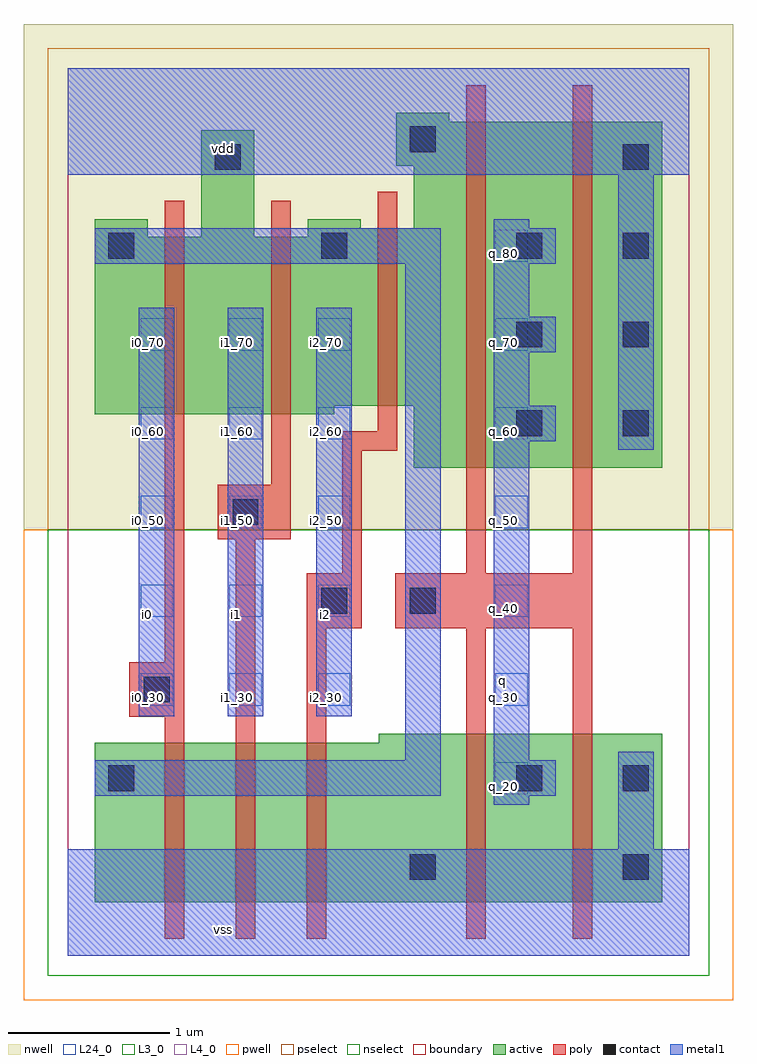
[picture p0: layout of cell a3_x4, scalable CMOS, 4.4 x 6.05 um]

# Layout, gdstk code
import gdstk
lib = gdstk.Library(unit=1e-6, precision=2.5e-09)
def R(c, l, rs):  # rectangles x0, y0, x1, y1
    for r in rs: c.add(gdstk.rectangle(r[:2], r[2:], *l))
def A(c, l, x, y, w, h, nx, ny, dx, dy):  # array of equal rectangles
    R(c, l, [(x+i*dx, y+j*dy, x+i*dx+w, y+j*dy+h) for i in range(nx) for j in range(ny)])
L3_0 = (3, 0)
L4_0 = (4, 0)
L24_0 = (24, 0)
contact = (25, 0)
pwell = (41, 0)
nwell = (42, 0)
active = (43, 0)
pselect = (44, 0)
nselect = (45, 0)
poly = (46, 0)
metal1 = (49, 0)
boundary = (63, 0)

a3_x4 = lib.new_cell('a3_x4')
R(a3_x4, L3_0, [(0.165,0.33,3.685,1.32), (1.925,1.32,3.685,1.375)])
R(a3_x4, L4_0, [(2.145,3.025,3.685,3.41), (0.165,3.355,1.65,3.41), (0.165,3.41,3.685,4.455), (0.165,4.455,0.495,4.565), (0.825,4.455,1.155,5.115), (1.485,4.455,3.685,4.51), (1.485,4.51,1.815,4.565), (2.145,4.51,3.685,4.895), (2.035,4.895,3.685,5.17), (2.035,5.17,2.365,5.225)])
A(a3_x4, L24_0, 2.65, 1, 0.2, 0.2, 1, 7, 0, 0.55)
A(a3_x4, L24_0, 0.45, 1.55, 0.2, 0.2, 3, 5, 0.55, 0.55)
A(a3_x4, contact, 2.78, 3.22, 0.16, 0.16, 1, 3, 0, 0.55)
A(a3_x4, contact, 3.44, 3.22, 0.16, 0.16, 1, 4, 0, 0.55)
R(a3_x4, contact, [(2.12,0.47,2.28,0.63), (3.44,0.47,3.6,0.63), (0.25,1.02,0.41,1.18), (2.78,1.02,2.94,1.18), (3.44,1.02,3.6,1.18), (0.47,1.57,0.63,1.73), (1.57,2.12,1.73,2.28), (2.12,2.12,2.28,2.28), (1.02,2.67,1.18,2.83), (0.25,4.32,0.41,4.48), (1.57,4.32,1.73,4.48), (0.91,4.87,1.07,5.03), (2.12,4.98,2.28,5.14)])
R(a3_x4, pwell, [(-0.275,-0.275,4.125,2.64)])
R(a3_x4, nwell, [(-0.275,2.64,4.125,5.775)])
R(a3_x4, active, [(0.165,0.33,3.685,1.32), (1.925,1.32,3.685,1.375), (2.145,3.025,3.685,3.41), (0.165,3.355,1.65,3.41), (0.165,3.41,3.685,4.455), (0.165,4.455,0.495,4.565), (0.825,4.455,1.155,5.115), (1.485,4.455,3.685,4.51), (1.485,4.51,1.815,4.565), (2.145,4.51,3.685,4.895), (2.035,4.895,3.685,5.17), (2.035,5.17,2.365,5.225)])
R(a3_x4, pselect, [(-0.125,2.64,3.975,5.625)])
R(a3_x4, nselect, [(-0.125,-0.125,3.975,2.64)])
R(a3_x4, poly, [(0.6,0.105,0.72,1.48), (1.04,0.105,1.16,2.58), (1.48,0.105,1.6,2.03), (2.47,0.105,2.59,2.03), (3.13,0.105,3.25,2.03), (0.38,1.48,0.72,1.82), (0.6,1.82,0.72,4.68), (1.48,2.03,1.82,2.37), (2.03,2.03,3.25,2.37), (1.7,2.37,1.82,3.13), (2.47,2.37,2.59,5.395), (3.13,2.37,3.25,5.395), (0.93,2.58,1.38,2.92), (1.26,2.92,1.38,4.68), (1.7,3.13,2.04,3.25), (1.92,3.25,2.04,4.735)])
A(a3_x4, metal1, 0.44, 1.485, 0.22, 2.53, 3, 1, 0.55, 0)
A(a3_x4, metal1, 2.64, 3.19, 0.385, 0.22, 1, 3, 0, 0.55)
R(a3_x4, metal1, [(0,0,3.85,0.66), (3.41,0.66,3.63,1.265), (2.64,0.935,2.86,0.99), (0.165,0.99,2.31,1.21), (2.64,0.99,3.025,1.21), (2.09,1.21,2.31,4.29), (2.64,1.21,2.86,3.19), (3.41,3.135,3.63,4.84), (2.64,3.41,2.86,3.74), (2.64,3.96,2.86,4.29), (0.165,4.29,2.31,4.51), (2.64,4.51,2.86,4.565), (0,4.84,3.85,5.5)])
R(a3_x4, boundary, [(0,0,3.85,5.5)])
a3_x4.add(gdstk.Label('vss', (0.9625,0.165), layer=49, texttype=0))
a3_x4.add(gdstk.Label('q', (2.695,1.705), layer=49, texttype=0))
a3_x4.add(gdstk.Label('i2', (1.595,2.1175), layer=49, texttype=0))
a3_x4.add(gdstk.Label('i1', (1.045,2.1175), layer=49, texttype=0))
a3_x4.add(gdstk.Label('i0', (0.495,2.1175), layer=49, texttype=0))
a3_x4.add(gdstk.Label('vdd', (0.9625,5.005), layer=49, texttype=0))
a3_x4.add(gdstk.Label('q_30', (2.7,1.6), layer=24, texttype=0))
a3_x4.add(gdstk.Label('i0_70', (0.5,3.8), layer=24, texttype=0))
a3_x4.add(gdstk.Label('i0_60', (0.5,3.25), layer=24, texttype=0))
a3_x4.add(gdstk.Label('i0_50', (0.5,2.7), layer=24, texttype=0))
a3_x4.add(gdstk.Label('i0_40', (0.5,2.15), layer=24, texttype=0))
a3_x4.add(gdstk.Label('i0_30', (0.5,1.6), layer=24, texttype=0))
a3_x4.add(gdstk.Label('i1_70', (1.05,3.8), layer=24, texttype=0))
a3_x4.add(gdstk.Label('i1_60', (1.05,3.25), layer=24, texttype=0))
a3_x4.add(gdstk.Label('i1_50', (1.05,2.7), layer=24, texttype=0))
a3_x4.add(gdstk.Label('i1_40', (1.05,2.15), layer=24, texttype=0))
a3_x4.add(gdstk.Label('i1_30', (1.05,1.6), layer=24, texttype=0))
a3_x4.add(gdstk.Label('i2_30', (1.6,1.6), layer=24, texttype=0))
a3_x4.add(gdstk.Label('i2_40', (1.6,2.15), layer=24, texttype=0))
a3_x4.add(gdstk.Label('i2_50', (1.6,2.7), layer=24, texttype=0))
a3_x4.add(gdstk.Label('i2_60', (1.6,3.25), layer=24, texttype=0))
a3_x4.add(gdstk.Label('i2_70', (1.6,3.8), layer=24, texttype=0))
a3_x4.add(gdstk.Label('q_80', (2.7,4.35), layer=24, texttype=0))
a3_x4.add(gdstk.Label('q_70', (2.7,3.8), layer=24, texttype=0))
a3_x4.add(gdstk.Label('q_60', (2.7,3.25), layer=24, texttype=0))
a3_x4.add(gdstk.Label('q_50', (2.7,2.7), layer=24, texttype=0))
a3_x4.add(gdstk.Label('q_40', (2.7,2.15), layer=24, texttype=0))
a3_x4.add(gdstk.Label('q_20', (2.7,1.05), layer=24, texttype=0))

lib.write_gds('a3_x4.gds')
